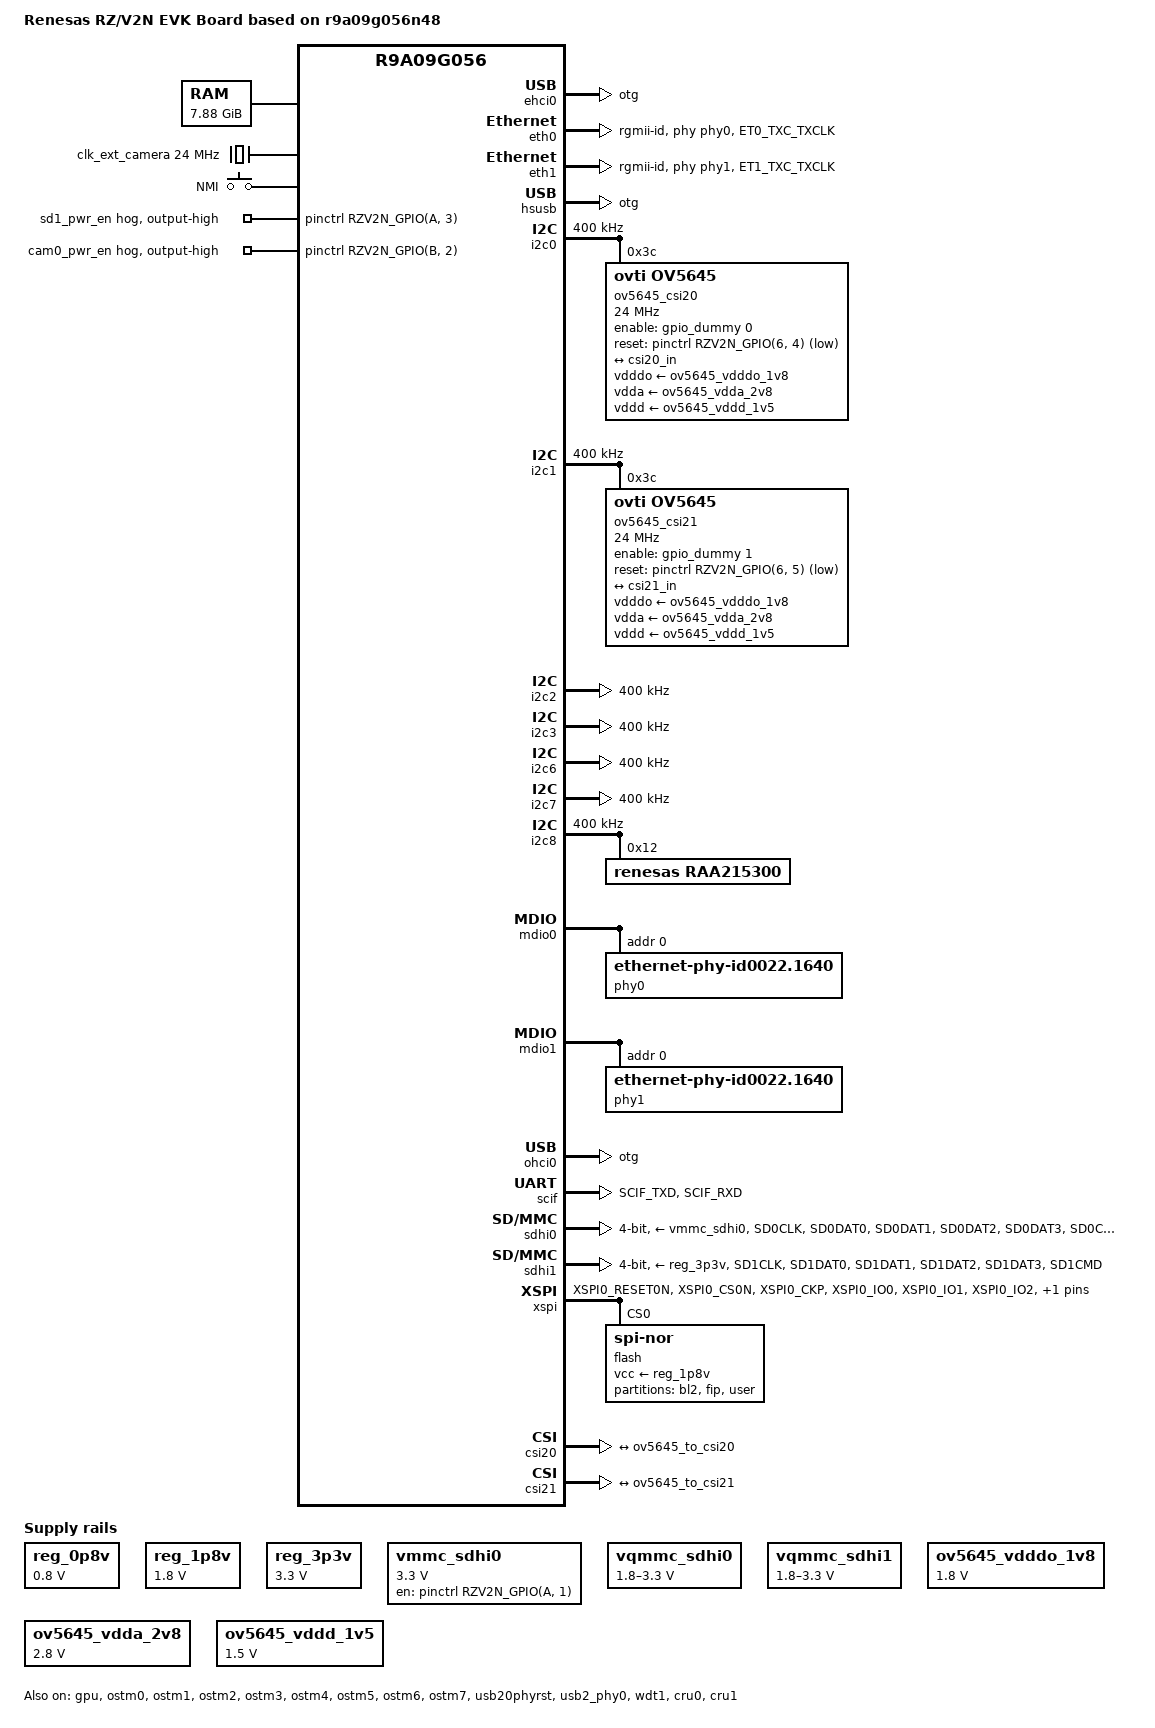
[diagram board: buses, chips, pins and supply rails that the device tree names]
// SPDX-License-Identifier: (GPL-2.0-only OR BSD-2-Clause)
/*
 * Device Tree Source for the RZ/V2N EVK board
 *
 * Copyright (C) 2025 Renesas Electronics Corp.
 */

/* Mode selection settings */
/*
 * Enable eMMC or uSD on SDHI channel 0.
 * eMMC_SD_SEL:
 * - microSD   0 (default)
 * - eMMC      1
 */
#define eMMC_SD_SEL    0

/dts-v1/;

#include <dt-bindings/gpio/gpio.h>
#include "r9a09g056.dtsi"

/ {
	model = "Renesas RZ/V2N EVK Board based on r9a09g056n48";
	compatible = "renesas,rzv2n-evk", "renesas,r9a09g056n48", "renesas,r9a09g056";

	aliases {
		ethernet0 = &eth0;
		ethernet1 = &eth1;
		i2c0 = &i2c0;
		i2c1 = &i2c1;
		i2c2 = &i2c2;
		i2c3 = &i2c3;
		i2c6 = &i2c6;
		i2c7 = &i2c7;
		i2c8 = &i2c8;
		mmc0 = &sdhi0;
		mmc1 = &sdhi1;
		serial0 = &scif;
	};

	chosen {
		bootargs = "ignore_loglevel";
		stdout-path = "serial0:115200n8";
	};

	memory@48000000 {
		device_type = "memory";
		/* first 128MB is reserved for secure area. */
		reg = <0x0 0x48000000 0x1 0xf8000000>;
	};

	reserved-memory {
		#address-cells = <2>;
		#size-cells = <2>;
		ranges;

		global_cma: linux,cma@58000000 {
			compatible = "shared-dma-pool";
			linux,cma-default;
			reusable;
			reg = <0x0 0x58000000 0x0 0x28000000>;
		};
	};

	reg_0p8v: regulator-0p8v {
		compatible = "regulator-fixed";
		regulator-name = "fixed-0.8V";
		regulator-min-microvolt = <800000>;
		regulator-max-microvolt = <800000>;
		regulator-boot-on;
		regulator-always-on;
	};

	reg_1p8v: regulator-1p8v {
		compatible = "regulator-fixed";
		regulator-name = "fixed-1.8V";
		regulator-min-microvolt = <1800000>;
		regulator-max-microvolt = <1800000>;
		regulator-boot-on;
		regulator-always-on;
	};

	reg_3p3v: regulator-3p3v {
		compatible = "regulator-fixed";
		regulator-name = "fixed-3.3V";
		regulator-min-microvolt = <3300000>;
		regulator-max-microvolt = <3300000>;
		regulator-boot-on;
		regulator-always-on;
	};

#if (!eMMC_SD_SEL)
	vmmc_sdhi0: regulator-vcc-sdhi0 {
		compatible = "regulator-fixed";

		regulator-name = "SDHI0 Vmmc";
		regulator-min-microvolt = <3300000>;
		regulator-max-microvolt = <3300000>;

		gpios = <&pinctrl RZV2N_GPIO(A, 1) GPIO_ACTIVE_HIGH>;
		enable-active-high;
	};

	vqmmc_sdhi0: regulator-vqmmc-sdhi0 {
		compatible = "regulator-gpio";

		regulator-name = "SDHI0 VccQ";
		regulator-min-microvolt = <1800000>;
		regulator-max-microvolt = <3300000>;

		gpios = <&pinctrl RZV2N_GPIO(A, 0) GPIO_ACTIVE_HIGH>;

		gpios-states = <0>;
		states = <3300000 0>, <1800000 1>;
	};
#endif

	vqmmc_sdhi1: regulator-vqmmc-sdhi1 {
		compatible = "regulator-gpio";
		regulator-name = "SDHI1 VqmmC";
		gpios = <&pinctrl RZV2N_GPIO(A, 2) GPIO_ACTIVE_HIGH>;
		regulator-min-microvolt = <1800000>;
		regulator-max-microvolt = <3300000>;
		gpios-states = <0>;
		states = <3300000 0>, <1800000 1>;
	};

	clk_ext_camera: clk_ext_camera {
		compatible = "fixed-clock";
		#clock-cells = <0>;
		clock-frequency = <24000000>;
	};

	ov5645_vdddo_1v8: 1p8v {
		compatible = "regulator-fixed";
		regulator-name = "camera_vdddo";
		regulator-min-microvolt = <1800000>;
		regulator-max-microvolt = <1800000>;
		regulator-always-on;
	};

	ov5645_vdda_2v8: 2p8v {
		compatible = "regulator-fixed";
		regulator-name = "camera_vdda";
		regulator-min-microvolt = <2800000>;
		regulator-max-microvolt = <2800000>;
		regulator-always-on;
	};

	ov5645_vddd_1v5: 1p5v {
		compatible = "regulator-fixed";
		regulator-name = "camera_vddd";
		regulator-min-microvolt = <1500000>;
		regulator-max-microvolt = <1500000>;
		regulator-always-on;
	};

	gpio_dummy: gpio-dummy {
		compatible = "gpio-dummy";
		gpio-controller;
		#gpio-cells = <2>;
		ngpios = <2>;
	};

	/* 32.768kHz crystal */
	x6: x6-clock {
		compatible = "fixed-clock";
		#clock-cells = <0>;
		clock-frequency = <32768>;
	};

	gpio-keys {
		compatible = "gpio-keys";

		nmi {
			interrupt-parent = <&icu>;
			interrupts = <0 IRQ_TYPE_EDGE_FALLING>;
			linux,code = <0>;
			label = "NMI";
			wakeup-source;
		};
	};
};

&audio_extal_clk {
	clock-frequency = <22579200>;
};

&ehci0 {
	dr_mode = "otg";
	status = "okay";
};

&eth0 {
	pinctrl-0 = <&eth0_pins>;
	pinctrl-names = "default";
	phy-handle = <&phy0>;
	phy-mode = "rgmii-id";
	status = "okay";
};

&eth1 {
	pinctrl-0 = <&eth1_pins>;
	pinctrl-names = "default";
	phy-handle = <&phy1>;
	phy-mode = "rgmii-id";
	status = "okay";
};

&gpu {
	status = "okay";
	mali-supply = <&reg_0p8v>;
};

&hsusb {
	dr_mode = "otg";
	status = "okay";
};

&i2c0 {
	pinctrl-0 = <&i2c0_pins>;
	pinctrl-names = "default";
	clock-frequency = <400000>;
	status = "okay";
};

&i2c1 {
	pinctrl-0 = <&i2c1_pins>;
	pinctrl-names = "default";
	clock-frequency = <400000>;
	status = "okay";
};

&i2c2 {
	pinctrl-0 = <&i2c2_pins>;
	pinctrl-names = "default";
	clock-frequency = <400000>;
	status = "okay";
};

&i2c3 {
	pinctrl-0 = <&i2c3_pins>;
	pinctrl-names = "default";
	clock-frequency = <400000>;
	status = "okay";
};

&i2c6 {
	pinctrl-0 = <&i2c6_pins>;
	pinctrl-names = "default";
	clock-frequency = <400000>;
	status = "okay";
};

&i2c7 {
	pinctrl-0 = <&i2c7_pins>;
	pinctrl-names = "default";
	clock-frequency = <400000>;
	status = "okay";
};

&i2c8 {
	pinctrl-0 = <&i2c8_pins>;
	pinctrl-names = "default";
	clock-frequency = <400000>;
	status = "okay";

	raa215300: pmic@12 {
		compatible = "renesas,raa215300";
		reg = <0x12>, <0x6f>;
		reg-names = "main", "rtc";
		clocks = <&x6>;
		clock-names = "xin";
	};
};

&mdio0 {
	phy0: ethernet-phy@0 {
		compatible = "ethernet-phy-id0022.1640", "ethernet-phy-ieee802.3-c22";
		reg = <0>;
		rxc-skew-psec = <0>;
		txc-skew-psec = <0>;
		rxdv-skew-psec = <0>;
		txdv-skew-psec = <0>;
		rxd0-skew-psec = <0>;
		rxd1-skew-psec = <0>;
		rxd2-skew-psec = <0>;
		rxd3-skew-psec = <0>;
		txd0-skew-psec = <0>;
		txd1-skew-psec = <0>;
		txd2-skew-psec = <0>;
		txd3-skew-psec = <0>;
	};
};

&mdio1 {
	phy1: ethernet-phy@1 {
		compatible = "ethernet-phy-id0022.1640", "ethernet-phy-ieee802.3-c22";
		reg = <0>;
		rxc-skew-psec = <0>;
		txc-skew-psec = <0>;
		rxdv-skew-psec = <0>;
		txdv-skew-psec = <0>;
		rxd0-skew-psec = <0>;
		rxd1-skew-psec = <0>;
		rxd2-skew-psec = <0>;
		rxd3-skew-psec = <0>;
		txd0-skew-psec = <0>;
		txd1-skew-psec = <0>;
		txd2-skew-psec = <0>;
		txd3-skew-psec = <0>;
	};
};

&ohci0 {
	dr_mode = "otg";
	status = "okay";
};

&ostm0 {
	status = "okay";
};

&ostm1 {
	status = "okay";
};

&ostm2 {
	status = "okay";
};

&ostm3 {
	status = "okay";
};

&ostm4 {
	status = "okay";
};

&ostm5 {
	status = "okay";
};

&ostm6 {
	status = "okay";
};

&ostm7 {
	status = "okay";
};

&pinctrl {
	eth0_pins: eth0 {
		pins = "ET0_TXC_TXCLK";
		output-enable;
	};

	eth1_pins: eth1 {
		pins = "ET1_TXC_TXCLK";
		output-enable;
	};

	i2c0_pins: i2c0 {
		pinmux = <RZV2N_PORT_PINMUX(3, 0, 1)>, /* I2C0_SDA */
			 <RZV2N_PORT_PINMUX(3, 1, 1)>; /* I2C0_SCL */
	};

	i2c1_pins: i2c1 {
		pinmux = <RZV2N_PORT_PINMUX(3, 2, 1)>, /* I2C1_SDA */
			 <RZV2N_PORT_PINMUX(3, 3, 1)>; /* I2C1_SCL */
	};

	i2c2_pins: i2c2 {
		pinmux = <RZV2N_PORT_PINMUX(2, 0, 4)>, /* I2C2_SDA */
			 <RZV2N_PORT_PINMUX(2, 1, 4)>; /* I2C2_SCL */
	};

	i2c3_pins: i2c3 {
		pinmux = <RZV2N_PORT_PINMUX(3, 6, 1)>, /* I2C3_SDA */
			 <RZV2N_PORT_PINMUX(3, 7, 1)>; /* I2C3_SCL */
	};

	i2c6_pins: i2c6 {
		pinmux = <RZV2N_PORT_PINMUX(4, 4, 1)>, /* I2C6_SDA */
			 <RZV2N_PORT_PINMUX(4, 5, 1)>; /* I2C6_SCL */
		/* There are no pull-up resistors on the EVK, so enable the internal pull-up */
		bias-pull-up;
	};

	i2c7_pins: i2c7 {
		pinmux = <RZV2N_PORT_PINMUX(4, 6, 1)>, /* I2C7_SDA */
			 <RZV2N_PORT_PINMUX(4, 7, 1)>; /* I2C7_SCL */
		/* There are no pull-up resistors on the EVK, so enable the internal pull-up */
		bias-pull-up;
	};

	i2c8_pins: i2c8 {
		pinmux = <RZV2N_PORT_PINMUX(0, 6, 1)>, /* I2C8_SDA */
			 <RZV2N_PORT_PINMUX(0, 7, 1)>; /* I2C8_SCL */
	};

	scif_pins: scif {
		pins = "SCIF_TXD", "SCIF_RXD";
		renesas,output-impedance = <1>;
	};

	sd1-pwr-en-hog {
		gpio-hog;
		gpios = <RZV2N_GPIO(A, 3) GPIO_ACTIVE_HIGH>;
		output-high;
		line-name = "sd1_pwr_en";
	};

	sdhi1_pins: sd1 {
		sd1-cd {
			pinmux = <RZV2N_PORT_PINMUX(9, 4, 14)>; /* SD1_CD */
		};

		sd1-clk {
			pins = "SD1CLK";
			renesas,output-impedance = <3>;
			slew-rate = <0>;
		};

		sd1-dat-cmd {
			pins = "SD1DAT0", "SD1DAT1", "SD1DAT2", "SD1DAT3", "SD1CMD";
			input-enable;
			renesas,output-impedance = <3>;
			slew-rate = <0>;
		};
	};

	usb20_pins: usb20 {
		ovc {
			pinmux =  <RZV2N_PORT_PINMUX(9, 6, 14)>; /* OVC */
		};

		vbus {
			pinmux = <RZV2N_PORT_PINMUX(9, 5, 14)>; /* VBUS */
		};
	};

	xspi_pins: xspi0 {
		ctrl {
			pins = "XSPI0_RESET0N", "XSPI0_CS0N", "XSPI0_CKP";
			output-enable;
		};

		io {
			pins = "XSPI0_IO0", "XSPI0_IO1", "XSPI0_IO2", "XSPI0_IO3";
			renesas,output-impedance = <3>;
		};
	};
#if (eMMC_SD_SEL)
	sdhi0_emmc_pins: emmc-pins {
		sd0-clk {
			pins = "SD0CLK";
			renesas,output-impedance = <3>;
			slew-rate = <0>;
		};

		sd0-dat-cmd {
			pins = "SD0DAT0", "SD0DAT1", "SD0DAT2", "SD0DAT3", "SD0DAT4",
			       "SD0DAT5", "SD0DAT6", "SD0DAT7", "SD0CMD";
			input-enable;
			renesas,output-impedance = <3>;
			slew-rate = <0>;
		};
	};
#else
	sdhi0_pins: sd0 {
		sd0-cd {
			pinmux = <RZV2N_PORT_PINMUX(A, 5, 15)>; /* SD0_CD */
		};

		sd0-clk {
			pins = "SD0CLK";
			renesas,output-impedance = <3>;
			slew-rate = <0>;
		};

		sd0-dat-cmd {
			pins = "SD0DAT0", "SD0DAT1", "SD0DAT2", "SD0DAT3", "SD0CMD";
			input-enable;
			renesas,output-impedance = <3>;
			slew-rate = <0>;
		};
	};
#endif

	i2c0_pins: i2c0 {
		pinmux = <RZV2N_PORT_PINMUX(3, 0, 1)>, /* I2C0_SDA */
			 <RZV2N_PORT_PINMUX(3, 1, 1)>; /* I2C0_SCL */
	};

	i2c1_pins: i2c1 {
		pinmux = <RZV2N_PORT_PINMUX(3, 2, 1)>, /* I2C1_SDA */
			 <RZV2N_PORT_PINMUX(3, 3, 1)>; /* I2C1_SCL */
	};

	/* cam0_pwr_en is used by Google Coral Camera from CSI20 and CSI21 */
	cam0_pwr_en {
		gpio-hog;
		gpios = <RZV2N_GPIO(B, 2) GPIO_ACTIVE_HIGH>;
		output-high;
		line-name = "cam0_pwr_en";
	};
};

&qextal_clk {
	clock-frequency = <24000000>;
};

&rtxin_clk {
	clock-frequency = <32768>;
};

&scif {
	pinctrl-0 = <&scif_pins>;
	pinctrl-names = "default";
	status = "okay";
};

#if (eMMC_SD_SEL)
&sdhi0 {
	pinctrl-0 = <&sdhi0_emmc_pins>;
	pinctrl-1 = <&sdhi0_emmc_pins>;
	pinctrl-names = "default", "state_uhs";
	vmmc-supply = <&reg_3p3v>;
	vqmmc-supply = <&reg_1p8v>;
	bus-width = <8>;
	mmc-hs200-1_8v;
	non-removable;
	fixed-emmc-driver-type = <1>;
	status = "okay";
};
#else
&sdhi0 {
	pinctrl-0 = <&sdhi0_pins>;
	pinctrl-1 = <&sdhi0_pins>;
	pinctrl-names = "default", "state_uhs";
	vmmc-supply = <&vmmc_sdhi0>;
	vqmmc-supply = <&vqmmc_sdhi0>;
	bus-width = <4>;
	sd-uhs-sdr50;
	sd-uhs-sdr104;
	status = "okay";
};
#endif

&sdhi1 {
	pinctrl-0 = <&sdhi1_pins>;
	pinctrl-1 = <&sdhi1_pins>;
	pinctrl-names = "default", "state_uhs";
	vmmc-supply = <&reg_3p3v>;
	vqmmc-supply = <&vqmmc_sdhi1>;
	bus-width = <4>;
	sd-uhs-sdr50;
	sd-uhs-sdr104;
	status = "okay";
};

&usb20phyrst {
	status = "okay";
};

&usb2_phy0 {
	pinctrl-0 = <&usb20_pins>;
	pinctrl-names = "default";

	status = "okay";
};

&wdt1 {
	status = "okay";
};

&xspi {
	pinctrl-0 = <&xspi_pins>;
	pinctrl-names = "default";
	/*
	 * MT25QU512ABB8E12 flash chip is capable of running at 166MHz
	 * clock frequency. Set the clock frequency to the maximum 133MHz
	 * supported by the RZ/V2N SoC.
	 */
	assigned-clocks = <&cpg CPG_CORE R9A09G056_SPI_CLK_SPI>;
	assigned-clock-rates = <133333334>;
	status = "okay";

	flash@0 {
		compatible = "jedec,spi-nor";
		reg = <0>;
		vcc-supply = <&reg_1p8v>;
		m25p,fast-read;
		spi-tx-bus-width = <4>;
		spi-rx-bus-width = <4>;

		partitions {
			compatible = "fixed-partitions";
			#address-cells = <1>;
			#size-cells = <1>;

			partition@0 {
				label = "bl2";
				reg = <0x00000000 0x00060000>;
			};

			partition@60000 {
				label = "fip";
				reg = <0x00060000 0x1fa0000>;
			};

			partition@2000000 {
				label = "user";
				reg = <0x2000000 0x2000000>;
			};
		};
	};
};

&i2c0 {
	pinctrl-0 = <&i2c0_pins>;
	pinctrl-names = "default";

	status = "okay";

	ov5645_csi20: ov5645_csi20@3c {
		compatible = "ovti,ov5645";
		reg = <0x3c>;
		clock-names = "xclk";
		clocks = <&clk_ext_camera>;
		clock-frequency = <24000000>;
		vdddo-supply = <&ov5645_vdddo_1v8>;
		vdda-supply = <&ov5645_vdda_2v8>;
		vddd-supply = <&ov5645_vddd_1v5>;
		/* Set dummy enable gpio */
		enable-gpios = <&gpio_dummy 0 GPIO_ACTIVE_HIGH>;
		reset-gpios = <&pinctrl RZV2N_GPIO(6, 4) GPIO_ACTIVE_LOW>;

		port {
			ov5645_to_csi20: endpoint {
				clock-lanes = <0>;
				data-lanes = <1 2>;
				remote-endpoint = <&csi20_in>;
			};
		};
	};
};

&i2c1 {
	pinctrl-0 = <&i2c1_pins>;
	pinctrl-names = "default";

	status = "okay";

	ov5645_csi21: ov5645_csi21@3c {
		compatible = "ovti,ov5645";
		reg = <0x3c>;
		clock-names = "xclk";
		clocks = <&clk_ext_camera>;
		clock-frequency = <24000000>;
		vdddo-supply = <&ov5645_vdddo_1v8>;
		vdda-supply = <&ov5645_vdda_2v8>;
		vddd-supply = <&ov5645_vddd_1v5>;
		/* Set dummy enable gpio */
		enable-gpios = <&gpio_dummy 1 GPIO_ACTIVE_HIGH>;
		reset-gpios = <&pinctrl RZV2N_GPIO(6, 5) GPIO_ACTIVE_LOW>;

		port {
			ov5645_to_csi21: endpoint {
				clock-lanes = <0>;
				data-lanes = <1 2>;
				remote-endpoint = <&csi21_in>;
			};
		};
	};
};


&cru0 {
	status = "okay";
};

&csi20 {
	status = "okay";

	ports {
		port {
			csi20_in: endpoint {
				clock-lanes = <0>;
				data-lanes = <1 2>;
				remote-endpoint = <&ov5645_to_csi20>;
			};
		};
	};
};

&cru1 {
	status = "okay";
};

&csi21 {
	status = "okay";

	ports {
		port {
			csi21_in: endpoint {
				clock-lanes = <0>;
				data-lanes = <1 2>;
				remote-endpoint = <&ov5645_to_csi21>;
			};
		};
	};
};
